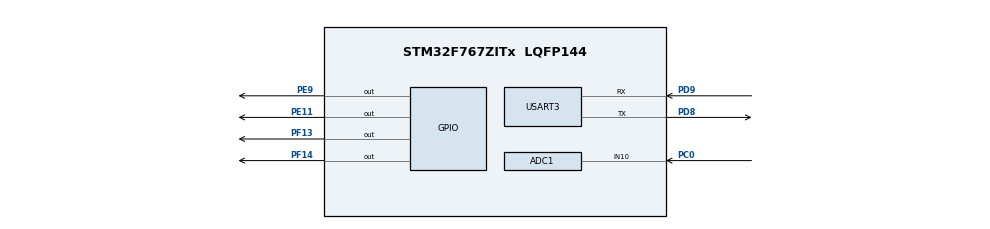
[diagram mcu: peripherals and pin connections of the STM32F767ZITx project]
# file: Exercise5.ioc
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ADC1.Channel-1\#ChannelRegularConversion=ADC_CHANNEL_10
ADC1.ContinuousConvMode=ENABLE
ADC1.EOCSelection=ADC_EOC_SEQ_CONV
ADC1.NbrOfConversionFlag=1
ADC1.Rank-1\#ChannelRegularConversion=1
ADC1.SamplingTime-1\#ChannelRegularConversion=ADC_SAMPLETIME_3CYCLES
ADC1.master=1
Mcu.Family=STM32F7
Mcu.Name=STM32F767ZITx
Mcu.Package=LQFP144
NVIC.PriorityGroup=NVIC_PRIORITYGROUP_4
PC0.Signal=ADCx_IN10
PD8.Mode=Asynchronous
PD8.Signal=USART3_TX
PD9.Mode=Asynchronous
PD9.Signal=USART3_RX
PE11.Signal=GPIO_Output
PE9.Signal=GPIO_Output
PF13.Signal=GPIO_Output
PF14.Signal=GPIO_Output
ProjectManager.HeapSize=0x200
ProjectManager.StackSize=0x400
ProjectManager.TargetToolchain=STM32CubeIDE
RCC.HSE_VALUE=25000000
RCC.HSI_VALUE=16000000
RCC.LSE_VALUE=32768
RCC.USBFreq_Value=96000000
RCC.VCOOutputFreq_Value=192000000
SH.ADCx_IN10.0=ADC1_IN10,IN10
USART3.VirtualMode-Asynchronous=VM_ASYNC
board=custom

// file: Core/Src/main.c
/* USER CODE BEGIN Header */
/**
  ******************************************************************************
  * @file           : main.c
  * @brief          : Main program body
  ******************************************************************************
  * @attention
  *
  * Copyright (c) 2023 STMicroelectronics.
  * All rights reserved.
  *
  * This software is licensed under terms that can be found in the LICENSE file
  * in the root directory of this software component.
  * If no LICENSE file comes with this software, it is provided AS-IS.
  *
  ******************************************************************************
  */
/* USER CODE END Header */
#include "main.h"
#include "adc.h"
#include "usart.h"
#include "gpio.h"

/* USER CODE BEGIN PV */
volatile uint32_t adc_val = 0;
GPIO_TypeDef* GPIO_Ports[] = {GPIOF,GPIOE,GPIOE,GPIOF};
uint16_t GPIO_Pins[] = {GPIO_PIN_13, GPIO_PIN_9,GPIO_PIN_11,GPIO_PIN_14};
#define ADC_RESOLUTION 4096;
#define VREF 3.3;
/* USER CODE END PV */

void SystemClock_Config(void);
/* USER CODE BEGIN PFP */

void displayHex(uint32_t adc)
{
	char output[10];
	float vin = (float)adc/ 4096 * 3.3;
	sprintf(output, "0x%08x \n\r" ,adc);
	HAL_UART_Transmit(&huart3, (uint8_t*) output, strlen(output), 1000);

}

void displayLED(int value)
{
	int range = 4095/5;

	if(value >=0 && value <= range)
	{
		HAL_GPIO_WritePin(GPIO_Ports[0], GPIO_Pins[0], RESET);
		HAL_GPIO_WritePin(GPIO_Ports[1], GPIO_Pins[1], RESET);
		HAL_GPIO_WritePin(GPIO_Ports[2], GPIO_Pins[2], RESET);
		HAL_GPIO_WritePin(GPIO_Ports[3], GPIO_Pins[3], RESET);

	}
	else if(value >= range && value <= range*2)
		{
			HAL_GPIO_WritePin(GPIO_Ports[0], GPIO_Pins[0], SET);
			HAL_GPIO_WritePin(GPIO_Ports[1], GPIO_Pins[1], RESET);
			HAL_GPIO_WritePin(GPIO_Ports[2], GPIO_Pins[2], RESET);
			HAL_GPIO_WritePin(GPIO_Ports[3], GPIO_Pins[3], RESET);

		}
	else if(value >= range*2 && value <= range*3)
			{
				HAL_GPIO_WritePin(GPIO_Ports[0], GPIO_Pins[0], SET);
				HAL_GPIO_WritePin(GPIO_Ports[1], GPIO_Pins[1], SET);
				HAL_GPIO_WritePin(GPIO_Ports[2], GPIO_Pins[2], RESET);
				HAL_GPIO_WritePin(GPIO_Ports[3], GPIO_Pins[3], RESET);

			}
	else if(value >= range*3 && value <= range*4)
				{
					HAL_GPIO_WritePin(GPIO_Ports[0], GPIO_Pins[0], SET);
					HAL_GPIO_WritePin(GPIO_Ports[1], GPIO_Pins[1], SET);
					HAL_GPIO_WritePin(GPIO_Ports[2], GPIO_Pins[2], SET);
					HAL_GPIO_WritePin(GPIO_Ports[3], GPIO_Pins[3], RESET);

				}
	else if(value >= range*4)
	{
		HAL_GPIO_WritePin(GPIO_Ports[0], GPIO_Pins[0], SET);
		HAL_GPIO_WritePin(GPIO_Ports[1], GPIO_Pins[1], SET);
		HAL_GPIO_WritePin(GPIO_Ports[2], GPIO_Pins[2], SET);
		HAL_GPIO_WritePin(GPIO_Ports[3], GPIO_Pins[3], SET);

	}
}

int average_8(int x)
{
	static int samples[8];
	static int i = 0;
	static int total = 0;

	total += x - samples[i];
	samples[i] =x;

	i = (i==7? 0: i+1);
	return total>>3;
}

int average_16(int x)
{
	static int samples[16];
	static int i = 0;
	static int total = 0;

	total += x - samples[i];
	samples[i] =x;

	i = (i==15? 0: i+1);
	return total>>4;
}

/* USER CODE END PFP */

int main(void)
{

  /* MCU Configuration--------------------------------------------------------*/

  /* Reset of all peripherals, Initializes the Flash interface and the Systick. */
  HAL_Init();

  /* Configure the system clock */
  SystemClock_Config();

  /* Initialize all configured peripherals */
  MX_GPIO_Init();
  MX_ADC1_Init();
  MX_USART3_UART_Init();

  /* Infinite loop */
  /* USER CODE BEGIN WHILE */

  HAL_ADC_Start(&hadc1);

  while (1)
  {
    /* USER CODE END WHILE */

    /* USER CODE BEGIN 3 */

	  while(HAL_ADC_PollForConversion(&hadc1, 100) != HAL_OK){}
	  adc_val = HAL_ADC_GetValue(&hadc1);
	  displayHex(average_16(adc_val));
	  displayLED(average_16(adc_val));
	  HAL_Delay(10);
;  }
  /* USER CODE END 3 */
}

void SystemClock_Config(void)
{
  RCC_OscInitTypeDef RCC_OscInitStruct = {0};
  RCC_ClkInitTypeDef RCC_ClkInitStruct = {0};

  /** Configure the main internal regulator output voltage
  */
  __HAL_RCC_PWR_CLK_ENABLE();
  __HAL_PWR_VOLTAGESCALING_CONFIG(PWR_REGULATOR_VOLTAGE_SCALE3);

  /** Initializes the RCC Oscillators according to the specified parameters
  * in the RCC_OscInitTypeDef structure.
  */
  RCC_OscInitStruct.OscillatorType = RCC_OSCILLATORTYPE_HSI;
  RCC_OscInitStruct.HSIState = RCC_HSI_ON;
  RCC_OscInitStruct.HSICalibrationValue = RCC_HSICALIBRATION_DEFAULT;
  RCC_OscInitStruct.PLL.PLLState = RCC_PLL_NONE;
  if (HAL_RCC_OscConfig(&RCC_OscInitStruct) != HAL_OK)
  {
    Error_Handler();
  }

  /** Initializes the CPU, AHB and APB buses clocks
  */
  RCC_ClkInitStruct.ClockType = RCC_CLOCKTYPE_HCLK|RCC_CLOCKTYPE_SYSCLK
                              |RCC_CLOCKTYPE_PCLK1|RCC_CLOCKTYPE_PCLK2;
  RCC_ClkInitStruct.SYSCLKSource = RCC_SYSCLKSOURCE_HSI;
  RCC_ClkInitStruct.AHBCLKDivider = RCC_SYSCLK_DIV1;
  RCC_ClkInitStruct.APB1CLKDivider = RCC_HCLK_DIV1;
  RCC_ClkInitStruct.APB2CLKDivider = RCC_HCLK_DIV1;

  if (HAL_RCC_ClockConfig(&RCC_ClkInitStruct, FLASH_LATENCY_0) != HAL_OK)
  {
    Error_Handler();
  }
}

void Error_Handler(void)
{
  __disable_irq();
  while (1)
  {
  }
}
